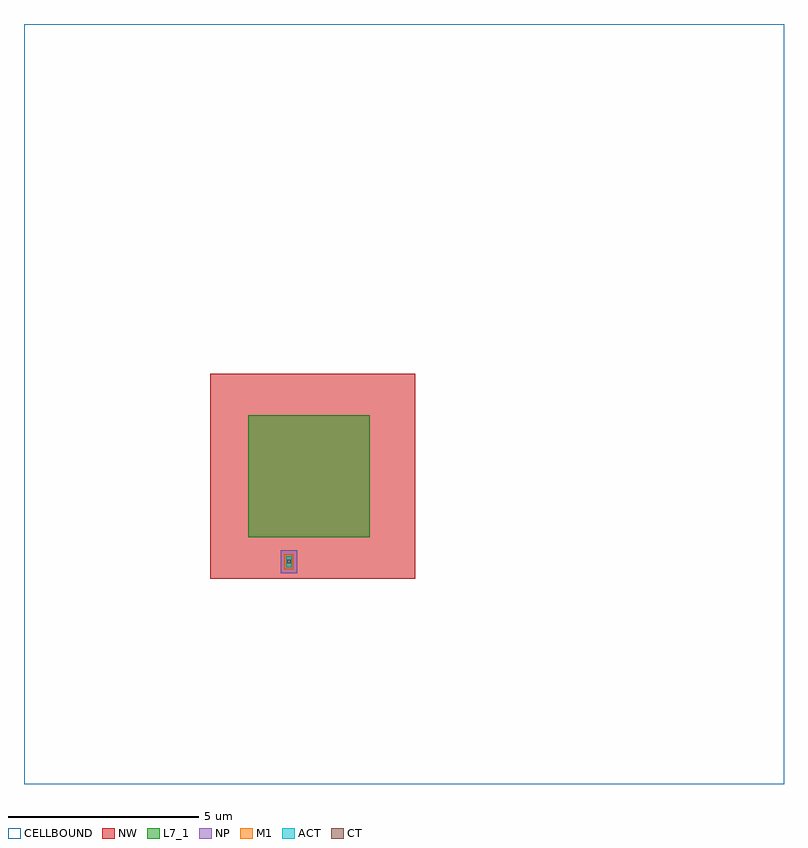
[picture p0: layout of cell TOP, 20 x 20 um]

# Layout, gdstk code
import gdstk
lib = gdstk.Library(unit=1e-6, precision=1e-09)
def R(c, l, rs):  # rectangles x0, y0, x1, y1
    for r in rs: c.add(gdstk.rectangle(r[:2], r[2:], *l))
ACT = (2, 1)
L7_1 = (7, 1)
NW = (9, 1)
NP = (52, 1)
CT = (72, 1)
M1 = (81, 1)
CELLBOUND = (351, 12)

top = lib.new_cell('TOP')
R(top, ACT, [(6.9,5.7,7.04,6)])
R(top, L7_1, [(5.9,6.5,9.1,9.7)])
R(top, NW, [(4.9,5.4,10.3,10.8)])
R(top, NP, [(6.75,5.55,7.19,6.15)])
R(top, CT, [(6.925,5.805,7.015,5.895)])
R(top, M1, [(6.85,5.65,7.09,6.05)])
R(top, CELLBOUND, [(0,0,20,20)])

lib.write_gds('TOP.gds')
